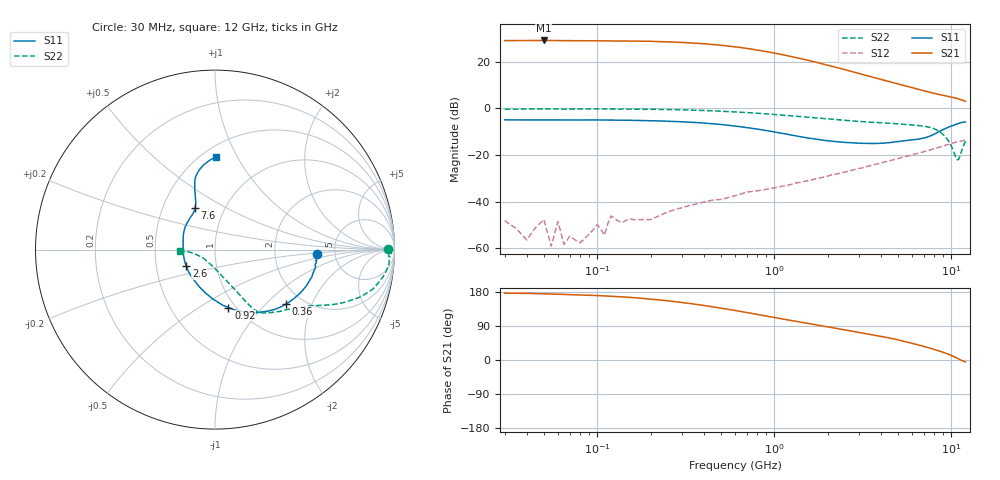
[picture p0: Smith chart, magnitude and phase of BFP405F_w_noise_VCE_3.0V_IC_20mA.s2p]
! Infineon Technologies  Discrete & RF Semiconductors
! BFP405F
! VCE =  3.0 V,  IC =  20 mA
! Common Emitter S-Parameters:  Nov 2015
# GHz  S  MA  R  50
!  f  S11  S21  S12  S22
! GHz  MAG  ANG  MAG  ANG  MAG  ANG  MAG  ANG
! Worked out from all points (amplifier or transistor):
!   239 points, 30 MHz to 12 GHz, reference 50 ohm
!   highest |S21| = 29.2 dB at 50 MHz (marker M1)
!   |S21| within 3 dB of that: start of sweep to 638.6 MHz
!   unconditionally stable (mu >= 1): 1.678 GHz to end of sweep
!   at 300 MHz: K = 0.27, MSG = 35.5 dB, |S12| = -42.6 dB
!   at 1.88 GHz: K = 1.05, MAG = 22.9 dB, |S12| = -29.6 dB
!   at 12 GHz: K = 1.38, MAG = 4.7 dB, |S12| = -13.7 dB
!   lowest NFmin = 2.24 dB at 450 MHz
!   S11 on the Smith chart (normalised r, x): 30 MHz: 3.62, -0.24; 360 MHz: 1.65, -1.33; 920 MHz: 0.93, -0.67; 2.6 GHz: 0.71, -0.14; 7.6 GHz: 0.72, +0.36; 12 GHz: 0.59, +0.82
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0.03  0.5692 -2.3  28.72 176.4  0.0039 99.1  0.9649 0.1
0.04  0.569 -4.2  28.74 175.8  0.0015 60.0  0.9717 -0.7
0.05  0.5674 -6.2  28.92 174.5  0.0041 51.1  0.9834 -1.3
0.055  0.5677 -6.0  28.79 174.1  0.0011 115.0  0.9773 -1.2
0.06  0.568 -5.9  28.66 173.7  0.0037 -160.4  0.9712 -1.0
0.065  0.5684 -6.6  28.64 173.1  0.0012 174.2  0.9694 -1.6
0.085  0.5666 -9.2  28.53 171.3  0.0016 81.2  0.9758 -2.7
0.15  0.5578 -16.6  28.17 165.7  0.0042 78.4  0.9687 -5.5
0.2  0.5472 -21.9  27.74 160.5  0.0041 60.2  0.9595 -7.5
0.24  0.5355 -26.0  27.08 157.1  0.0056 77.9  0.9503 -8.9
0.36  0.4992 -37.4  25.22 147.0  0.0088 77.6  0.9161 -12.9
0.46  0.4666 -46.0  23.51 139.6  0.0109 75.8  0.8867 -15.5
0.6  0.42 -56.9  21.09 130.6  0.0133 72.3  0.8435 -18.5
0.7  0.3885 -63.5  19.55 125.2  0.016 71.4  0.8157 -20.0
0.92  0.3311 -77.0  16.47 115.2  0.0186 70.2  0.7618 -23.0
1.3  0.2599 -97.2  12.62 102.5  0.0245 71.9  0.6887 -26.7
1.64  0.2245 -112.9  10.29 94.5  0.0294 70.7  0.6411 -29.2
2.6  0.1839 -150.0  6.565 78.2  0.0446 69.5  0.5499 -36.6
4.5  0.1856 163.6  3.735 57.7  0.0757 64.0  0.48 -46.7
7.6  0.2568 115.7  2.211 31.1  0.1287 51.0  0.3921 -57.1
10.8  0.4668 98.9  1.635 4.7  0.1921 32.3  0.0792 -122.8
12  0.5136 89.3  1.427 -5.3  0.2072 25.2  0.1975 -178.2
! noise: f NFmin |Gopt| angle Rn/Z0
0.45  2.24  0.02  -18  0.47
0.9  2.25  0.01  -90  0.3
1.5  2.31  0.03  -114  0.38
1.9  2.38  0.04  -120  0.52
2.4  2.53  0.05  -120  0.18
3  2.62  0.07  -120  0.16
3.5  2.7  0.09  -118  0.22
4.5  2.94  0.14  -105  0.5
5.5  3.27  0.24  -88  0.52
